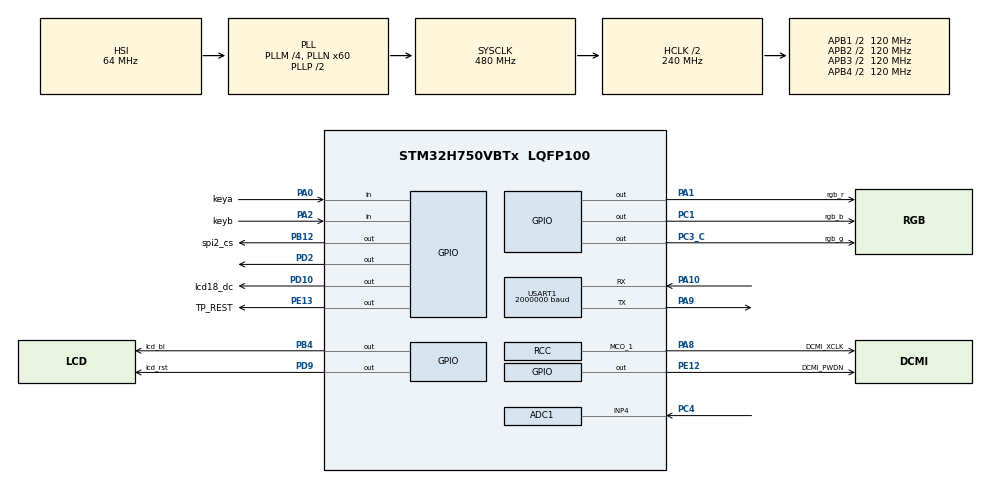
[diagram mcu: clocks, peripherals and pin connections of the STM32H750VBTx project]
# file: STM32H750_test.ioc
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ADC1.Channel-1\#ChannelRegularConversion=ADC_CHANNEL_4
ADC1.ClockPrescaler=ADC_CLOCK_ASYNC_DIV2
ADC1.ContinuousConvMode=ENABLE
ADC1.NbrOfConversion=1
ADC1.NbrOfConversionFlag=1
ADC1.OffsetNumber-1\#ChannelRegularConversion=ADC_OFFSET_NONE
ADC1.OffsetSignedSaturation-1\#ChannelRegularConversion=DISABLE
ADC1.Overrun=ADC_OVR_DATA_OVERWRITTEN
ADC1.Rank-1\#ChannelRegularConversion=1
ADC1.Resolution=ADC_RESOLUTION_12B
ADC1.SamplingTime-1\#ChannelRegularConversion=ADC_SAMPLETIME_1CYCLE_5
ADC1.master=1
CORTEX_M7.CPU_DCache=Enabled
CORTEX_M7.CPU_ICache=Enabled
Mcu.Family=STM32H7
Mcu.Name=STM32H750VBTx
Mcu.Package=LQFP100
Mcu.UserConstants=QWE,64
NVIC.ADC_IRQn=true\:3\:0\:true\:false\:true\:true\:true\:true
NVIC.PriorityGroup=NVIC_PRIORITYGROUP_4
NVIC.TIM6_DAC_IRQn=true\:2\:0\:true\:false\:true\:true\:true\:true
PA0.GPIO_Label=keya
PA0.GPIO_PuPd=GPIO_PULLDOWN
PA0.Signal=GPIO_Input
PA1.GPIO_Label=rgb_r
PA1.PinState=GPIO_PIN_SET
PA1.Signal=GPIO_Output
PA10.GPIO_Speed=GPIO_SPEED_FREQ_MEDIUM
PA10.Mode=Asynchronous
PA10.Signal=USART1_RX
PA13\ (JTMS/SWDIO).Mode=Serial_Wire
PA13\ (JTMS/SWDIO).Signal=DEBUG_JTMS-SWDIO
PA14\ (JTCK/SWCLK).Mode=Serial_Wire
PA14\ (JTCK/SWCLK).Signal=DEBUG_JTCK-SWCLK
PA2.GPIO_Label=keyb
PA2.GPIO_PuPd=GPIO_PULLUP
PA2.Signal=GPIO_Input
PA4.GPIO_Speed=GPIO_SPEED_FREQ_VERY_HIGH
PA4.Signal=SPI1_NSS
PA5.GPIO_Speed=GPIO_SPEED_FREQ_VERY_HIGH
PA5.Signal=SPI1_SCK
PA7.GPIO_Speed=GPIO_SPEED_FREQ_VERY_HIGH
PA7.Signal=SPI1_MOSI
PA8.GPIO_Label=DCMI_XCLK
PA8.Mode=Clock-out-1
PA8.Signal=RCC_MCO_1
PA9.GPIO_Speed=GPIO_SPEED_FREQ_MEDIUM
PA9.Mode=Asynchronous
PA9.Signal=USART1_TX
PB12.GPIO_Label=spi2_cs
PB12.GPIO_Speed=GPIO_SPEED_FREQ_VERY_HIGH
PB12.Signal=GPIO_Output
PB13.GPIO_Speed=GPIO_SPEED_FREQ_VERY_HIGH
PB13.Signal=SPI2_SCK
PB14.GPIO_Speed=GPIO_SPEED_FREQ_VERY_HIGH
PB14.Signal=SPI2_MISO
PB4\ (NJTRST).GPIO_Label=lcd_bl
PB4\ (NJTRST).Signal=GPIO_Output
PB6.GPIO_Speed=GPIO_SPEED_FREQ_VERY_HIGH
PB6.Signal=QUADSPI_BK1_NCS
PC1.GPIO_Label=rgb_b
PC1.PinState=GPIO_PIN_SET
PC1.Signal=GPIO_Output
PC3_C.GPIO_Label=rgb_g
PC3_C.PinState=GPIO_PIN_SET
PC3_C.Signal=GPIO_Output
PC4.Signal=ADCx_INP4
PD10.GPIO_Label=lcd18_dc
PD10.GPIO_Speed=GPIO_SPEED_FREQ_VERY_HIGH
PD10.Signal=GPIO_Output
PD2.Signal=GPIO_Output
PD9.GPIO_Label=lcd_rst
PD9.GPIO_Speed=GPIO_SPEED_FREQ_VERY_HIGH
PD9.Signal=GPIO_Output
PE12.GPIO_Label=DCMI_PWDN
PE12.Signal=GPIO_Output
PE13.GPIO_Label=TP_REST
PE13.Signal=GPIO_Output
ProjectManager.HeapSize=0x400
ProjectManager.StackSize=0x4000
ProjectManager.TargetToolchain=MDK-ARM V5.27
RCC.ADCFreq_Value=129000000
RCC.APB1Freq_Value=120000000
RCC.APB2Freq_Value=120000000
RCC.APB3Freq_Value=120000000
RCC.APB4Freq_Value=120000000
RCC.CortexFreq_Value=480000000
RCC.D1PPRE=RCC_APB3_DIV2
RCC.D2PPRE1=RCC_APB1_DIV2
RCC.D2PPRE2=RCC_APB2_DIV2
RCC.D3PPRE=RCC_APB4_DIV2
RCC.DIVM1=4
RCC.DIVN1=60
RCC.DIVQ1=5
RCC.HCLKFreq_Value=240000000
RCC.HPRE=RCC_HCLK_DIV2
RCC.HSICalibrationValue=32
RCC.PLLFRACN=0
RCC.ProductRev=revV
RCC.RCC_MCODiv1=RCC_MCODIV_8
RCC.RCC_TIM_PRescaler_Selection=RCC_TIMPRES_ACTIVATED
RCC.SPI123CLockSelection=RCC_SPI123CLKSOURCE_PLL2
RCC.SYSCLKFreq_VALUE=480000000
RCC.SYSCLKSource=RCC_SYSCLKSOURCE_PLLCLK
RCC.USBCLockSelection=RCC_USBCLKSOURCE_HSI48
RCC.USBFreq_Value=48000000
SH.ADCx_INP4.0=ADC1_INP4,IN4-Single-Ended
TIM6.Period=1000-1
TIM6.Prescaler=240-1
USART1.AutoBaudRateEnableParam=UART_ADVFEATURE_AUTOBAUDRATE_DISABLE
USART1.BaudRate=2000000
USART1.VirtualMode-Asynchronous=VM_ASYNC
VP_TIM6_VS_ClockSourceINT.Mode=Enable_Timer
board=custom

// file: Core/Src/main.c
/* USER CODE BEGIN Header */
/**
  ******************************************************************************
  * @file           : main.c
  * @brief          : Main program body
  ******************************************************************************
  * @attention
  *
  * <h2><center>&copy; Copyright (c) 2022 STMicroelectronics.
  * All rights reserved.</center></h2>
  *
  * This software component is licensed by ST under BSD 3-Clause license,
  * the "License"; You may not use this file except in compliance with the
  * License. You may obtain a copy of the License at:
  *                        opensource.org/licenses/BSD-3-Clause
  *
  ******************************************************************************
  */
/* USER CODE END Header */
#include "main.h"
#include "adc.h"
#include "tim.h"
#include "usart.h"
#include "gpio.h"

/* USER CODE BEGIN Includes */
#include "init.h"
#include "run.h"

/* USER CODE END Includes */

void SystemClock_Config(void);
void PeriphCommonClock_Config(void);

/* USER CODE BEGIN 0 */
static void MPU_Config(void);
/* USER CODE END 0 */

int main(void)
{
  /* USER CODE BEGIN 1 */
//	MPU_Config();
//	__enable_irq();    /*  使能全局中断 */
  /* USER CODE END 1 */

  /* Enable I-Cache---------------------------------------------------------*/
//  SCB_EnableICache();

//  /* Enable D-Cache---------------------------------------------------------*/
//  SCB_EnableDCache();

  /* MCU Configuration--------------------------------------------------------*/

  /* Reset of all peripherals, Initializes the Flash interface and the Systick. */
  HAL_Init();

  /* Configure the system clock */
  SystemClock_Config();

/* Configure the peripherals common clocks */
  PeriphCommonClock_Config();

  /* USER CODE BEGIN SysInit */
//	MX_DMA_Init();
  /* USER CODE END SysInit */

  /* Initialize all configured peripherals */
  MX_GPIO_Init();
  MX_TIM6_Init();
  MX_USART1_UART_Init();
  MX_ADC1_Init();
  /* USER CODE BEGIN 2 */
	init();
  /* USER CODE END 2 */

  /* Infinite loop */
  /* USER CODE BEGIN WHILE */
  while (1)
  {
		run();
    /* USER CODE END WHILE */

  }
}

void SystemClock_Config(void)
{
  RCC_OscInitTypeDef RCC_OscInitStruct = {0};
  RCC_ClkInitTypeDef RCC_ClkInitStruct = {0};

  /** Supply configuration update enable
  */
  HAL_PWREx_ConfigSupply(PWR_LDO_SUPPLY);

  /** Configure the main internal regulator output voltage
  */
  __HAL_PWR_VOLTAGESCALING_CONFIG(PWR_REGULATOR_VOLTAGE_SCALE1);

  while(!__HAL_PWR_GET_FLAG(PWR_FLAG_VOSRDY)) {}

  __HAL_RCC_SYSCFG_CLK_ENABLE();
  __HAL_PWR_VOLTAGESCALING_CONFIG(PWR_REGULATOR_VOLTAGE_SCALE0);

  while(!__HAL_PWR_GET_FLAG(PWR_FLAG_VOSRDY)) {}

  /** Macro to configure the PLL clock source
  */
  __HAL_RCC_PLL_PLLSOURCE_CONFIG(RCC_PLLSOURCE_HSI);

  /** Initializes the RCC Oscillators according to the specified parameters
  * in the RCC_OscInitTypeDef structure.
  */
  RCC_OscInitStruct.OscillatorType = RCC_OSCILLATORTYPE_HSI;
  RCC_OscInitStruct.HSIState = RCC_HSI_DIV1;
  RCC_OscInitStruct.HSICalibrationValue = 32;
  RCC_OscInitStruct.PLL.PLLState = RCC_PLL_ON;
  RCC_OscInitStruct.PLL.PLLSource = RCC_PLLSOURCE_HSI;
  RCC_OscInitStruct.PLL.PLLM = 4;
  RCC_OscInitStruct.PLL.PLLN = 60;
  RCC_OscInitStruct.PLL.PLLP = 2;
  RCC_OscInitStruct.PLL.PLLQ = 5;
  RCC_OscInitStruct.PLL.PLLR = 2;
  RCC_OscInitStruct.PLL.PLLRGE = RCC_PLL1VCIRANGE_3;
  RCC_OscInitStruct.PLL.PLLVCOSEL = RCC_PLL1VCOWIDE;
  RCC_OscInitStruct.PLL.PLLFRACN = 0;
  if (HAL_RCC_OscConfig(&RCC_OscInitStruct) != HAL_OK)
  {
    Error_Handler();
  }

  /** Initializes the CPU, AHB and APB buses clocks
  */
  RCC_ClkInitStruct.ClockType = RCC_CLOCKTYPE_HCLK|RCC_CLOCKTYPE_SYSCLK
                              |RCC_CLOCKTYPE_PCLK1|RCC_CLOCKTYPE_PCLK2
                              |RCC_CLOCKTYPE_D3PCLK1|RCC_CLOCKTYPE_D1PCLK1;
  RCC_ClkInitStruct.SYSCLKSource = RCC_SYSCLKSOURCE_PLLCLK;
  RCC_ClkInitStruct.SYSCLKDivider = RCC_SYSCLK_DIV1;
  RCC_ClkInitStruct.AHBCLKDivider = RCC_HCLK_DIV2;
  RCC_ClkInitStruct.APB3CLKDivider = RCC_APB3_DIV2;
  RCC_ClkInitStruct.APB1CLKDivider = RCC_APB1_DIV2;
  RCC_ClkInitStruct.APB2CLKDivider = RCC_APB2_DIV2;
  RCC_ClkInitStruct.APB4CLKDivider = RCC_APB4_DIV2;

  if (HAL_RCC_ClockConfig(&RCC_ClkInitStruct, FLASH_LATENCY_4) != HAL_OK)
  {
    Error_Handler();
  }
  HAL_RCC_MCOConfig(RCC_MCO1, RCC_MCO1SOURCE_HSI, RCC_MCODIV_8);
}

void PeriphCommonClock_Config(void)
{
  RCC_PeriphCLKInitTypeDef PeriphClkInitStruct = {0};

  /** Initializes the peripherals clock
  */
  PeriphClkInitStruct.PeriphClockSelection = RCC_PERIPHCLK_TIM;
  PeriphClkInitStruct.TIMPresSelection = RCC_TIMPRES_ACTIVATED;

  if (HAL_RCCEx_PeriphCLKConfig(&PeriphClkInitStruct) != HAL_OK)
  {
    Error_Handler();
  }
}

/* USER CODE BEGIN 4 */
static void MPU_Config( void )
{
	MPU_Region_InitTypeDef MPU_InitStruct;
	/* 禁止 MPU */
	HAL_MPU_Disable();
	/* 配置 AXI SRAM 的 MPU 属性为 Write back, Read allocate，Write allocate */
	MPU_InitStruct.Enable = MPU_REGION_ENABLE;
	MPU_InitStruct.BaseAddress = 0x24000000;
	MPU_InitStruct.Size = MPU_REGION_SIZE_512KB;
	MPU_InitStruct.AccessPermission = MPU_REGION_FULL_ACCESS;
	MPU_InitStruct.IsBufferable = MPU_ACCESS_BUFFERABLE;
	MPU_InitStruct.IsCacheable = MPU_ACCESS_CACHEABLE;
	MPU_InitStruct.IsShareable = MPU_ACCESS_NOT_SHAREABLE;
	MPU_InitStruct.Number = MPU_REGION_NUMBER0;
	MPU_InitStruct.TypeExtField = MPU_TEX_LEVEL1;
	MPU_InitStruct.SubRegionDisable = 0x00;
	MPU_InitStruct.DisableExec = MPU_INSTRUCTION_ACCESS_ENABLE;
	HAL_MPU_ConfigRegion(&MPU_InitStruct);

	/*使能 MPU */
	HAL_MPU_Enable(MPU_PRIVILEGED_DEFAULT);
}
/* USER CODE END 4 */

void Error_Handler(void)
{
  __disable_irq();
  while (1)
  {
  }
}
